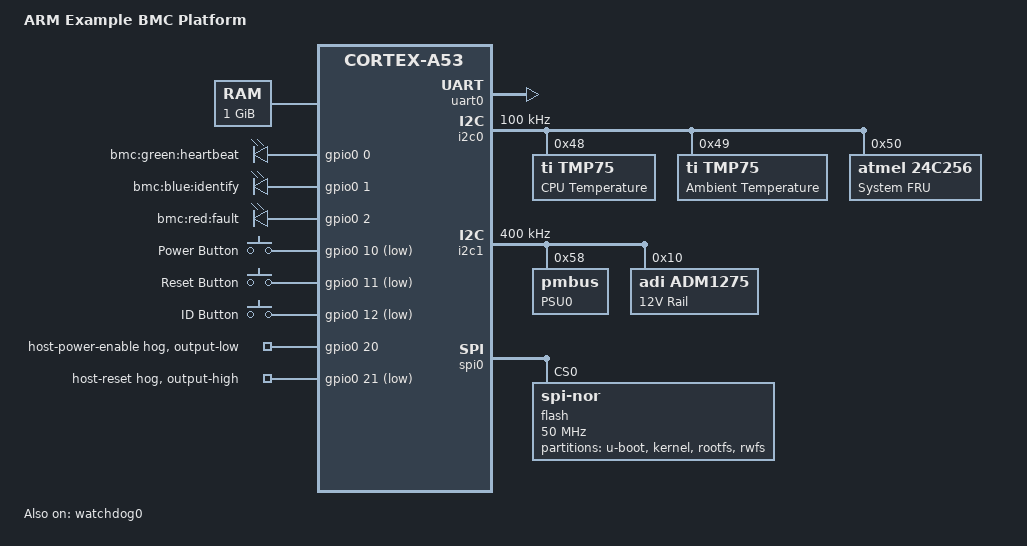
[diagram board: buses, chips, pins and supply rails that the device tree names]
// SPDX-License-Identifier: GPL-2.0-or-later OR MIT
// ARM Example BMC Device Tree
//
// This is an example device tree for an ARM-based BMC platform.
// Customize for your specific hardware.

/dts-v1/;

#include <dt-bindings/gpio/gpio.h>
#include <dt-bindings/input/input.h>

/ {
    model = "ARM Example BMC Platform";
    compatible = "example,arm-bmc", "arm,cortex-a53";

    #address-cells = <2>;
    #size-cells = <2>;

    // =========================================================================
    // Chosen Node - Boot Configuration
    // =========================================================================
    chosen {
        stdout-path = "serial0:115200n8";
        bootargs = "console=ttyAMA0,115200 earlycon";
    };

    // =========================================================================
    // Aliases - Consistent Device Naming
    // =========================================================================
    aliases {
        serial0 = &uart0;
        i2c0 = &i2c0;
        i2c1 = &i2c1;
        spi0 = &spi0;
    };

    // =========================================================================
    // Memory Configuration
    // =========================================================================
    memory@80000000 {
        device_type = "memory";
        reg = <0x0 0x80000000 0x0 0x40000000>; // 1GB at 0x80000000
    };

    // =========================================================================
    // Reserved Memory
    // =========================================================================
    reserved-memory {
        #address-cells = <2>;
        #size-cells = <2>;
        ranges;

        // Secure world reserved memory (for TF-A/OP-TEE)
        secure_region: secure@be000000 {
            reg = <0x0 0xbe000000 0x0 0x02000000>;
            no-map;
        };
    };

    // =========================================================================
    // LEDs - Status Indicators
    // =========================================================================
    leds {
        compatible = "gpio-leds";

        heartbeat {
            label = "bmc:green:heartbeat";
            gpios = <&gpio0 0 GPIO_ACTIVE_HIGH>;
            linux,default-trigger = "heartbeat";
        };

        identify {
            label = "bmc:blue:identify";
            gpios = <&gpio0 1 GPIO_ACTIVE_HIGH>;
            default-state = "off";
        };

        fault {
            label = "bmc:red:fault";
            gpios = <&gpio0 2 GPIO_ACTIVE_HIGH>;
            default-state = "off";
        };
    };

    // =========================================================================
    // Buttons - Physical Controls
    // =========================================================================
    gpio-keys {
        compatible = "gpio-keys";

        power-button {
            label = "Power Button";
            gpios = <&gpio0 10 GPIO_ACTIVE_LOW>;
            linux,code = <KEY_POWER>;
        };

        reset-button {
            label = "Reset Button";
            gpios = <&gpio0 11 GPIO_ACTIVE_LOW>;
            linux,code = <KEY_RESTART>;
        };

        id-button {
            label = "ID Button";
            gpios = <&gpio0 12 GPIO_ACTIVE_LOW>;
            linux,code = <KEY_PROG1>;
        };
    };
};

// =============================================================================
// UART - Serial Console
// =============================================================================
&uart0 {
    status = "okay";
    // ARM PL011 UART - typically at 0x09000000
};

// =============================================================================
// I2C Buses - Sensor and FRU Access
// =============================================================================
&i2c0 {
    status = "okay";
    clock-frequency = <100000>;  // 100 kHz standard mode

    // Temperature sensor - CPU
    tmp75_cpu: tmp75@48 {
        compatible = "ti,tmp75";
        reg = <0x48>;
        label = "CPU Temperature";
    };

    // Temperature sensor - Ambient
    tmp75_ambient: tmp75@49 {
        compatible = "ti,tmp75";
        reg = <0x49>;
        label = "Ambient Temperature";
    };

    // System FRU EEPROM
    eeprom_fru: eeprom@50 {
        compatible = "atmel,24c256";
        reg = <0x50>;
        label = "System FRU";
    };
};

&i2c1 {
    status = "okay";
    clock-frequency = <400000>;  // 400 kHz fast mode

    // Power supply monitoring
    pmbus_psu0: pmbus@58 {
        compatible = "pmbus";
        reg = <0x58>;
        label = "PSU0";
    };

    // Voltage regulator monitoring
    adm1275: adm1275@10 {
        compatible = "adi,adm1275";
        reg = <0x10>;
        label = "12V Rail";
    };
};

// =============================================================================
// SPI - Flash Storage
// =============================================================================
&spi0 {
    status = "okay";

    flash@0 {
        compatible = "jedec,spi-nor";
        reg = <0>;
        spi-max-frequency = <50000000>;

        partitions {
            compatible = "fixed-partitions";
            #address-cells = <1>;
            #size-cells = <1>;

            u-boot@0 {
                label = "u-boot";
                reg = <0x0 0x100000>;  // 1MB
            };

            kernel@100000 {
                label = "kernel";
                reg = <0x100000 0x900000>;  // 9MB
            };

            rootfs@a00000 {
                label = "rootfs";
                reg = <0xa00000 0x2600000>;  // 38MB
            };

            rwfs@3000000 {
                label = "rwfs";
                reg = <0x3000000 0x1000000>;  // 16MB
            };
        };
    };
};

// =============================================================================
// GPIO - Platform Control
// =============================================================================
&gpio0 {
    status = "okay";

    // Power control outputs
    host-power-enable {
        gpio-hog;
        gpios = <20 GPIO_ACTIVE_HIGH>;
        output-low;
        line-name = "host-power-enable";
    };

    host-reset {
        gpio-hog;
        gpios = <21 GPIO_ACTIVE_LOW>;
        output-high;  // Not asserted
        line-name = "host-reset";
    };
};

// =============================================================================
// Watchdog Timer
// =============================================================================
&watchdog0 {
    status = "okay";
    timeout-sec = <30>;
};
